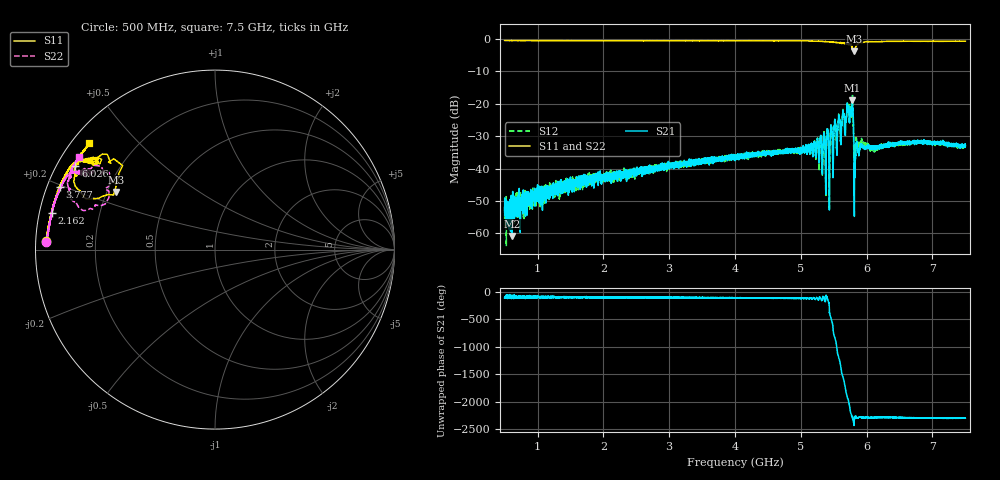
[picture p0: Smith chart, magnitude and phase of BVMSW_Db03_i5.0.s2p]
!Keysight Technologies,M9374A,MY55442783,A.12.55.05
!Date: Friday, May 21, 2021 11:07:29
!Correction: S11(Full 2 Port(1,2))
!S21(Full 2 Port(1,2))
!S12(Full 2 Port(1,2))
!S22(Full 2 Port(1,2))
!S2P File: Measurements: S11, S21, S12, S22:
# Hz S  RI  R 50
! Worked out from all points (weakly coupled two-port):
!   7001 points, 500 MHz to 7.5 GHz, reference 50 ohm
!   highest |S21| = -19.02 dB at 5.783 GHz (marker M1); lowest = -60.8 dB at 615 MHz (marker M2)
!   lowest |S11| = -3.9 dB at 5.807 GHz (marker M3), VSWR 4.55, Z = 11.7 + j12.8 ohm
!   |S11| at or under -10 dB: nowhere
!   |S22| runs from -3.7 to -0.5 dB; largest |S21 - S12| = 0.054
!   S11 on the Smith chart (normalised r, x): 500 MHz: 0.03, +0.03; 2.162 GHz: 0.04, +0.11; 3.777 GHz: 0.04, +0.19; 6.026 GHz: 0.05, +0.28; 7.5 GHz: 0.05, +0.36
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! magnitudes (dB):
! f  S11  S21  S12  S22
! 500 MHz  -0.5  -52.1  -58.0  -0.5
! 615 MHz  -0.5  -60.8  -54.8  -0.6
! 1.667 GHz  -0.6  -43.1  -43.2  -0.6
! 2.162 GHz  -0.6  -42.6  -42.7  -0.6
! 2.834 GHz  -0.6  -39.9  -39.4  -0.6
! 3.777 GHz  -0.6  -36.6  -37.0  -0.6
! 4 GHz  -0.6  -36.4  -36.3  -0.7
! 5.167 GHz  -0.7  -32.9  -33.1  -0.7
! 5.331 GHz  -0.8  -38.9  -39.3  -0.9
! 5.353 GHz  -0.8  -31.0  -29.0  -0.9
! 5.383 GHz  -0.9  -41.3  -42.2  -0.9
! 5.405 GHz  -0.9  -27.9  -28.0  -1.0
! 5.43 GHz  -0.9  -43.5  -43.2  -1.0
! 5.46 GHz  -1.0  -26.5  -26.5  -1.0
! 5.718 GHz  -1.5  -22.1  -21.9  -1.5
! 5.762 GHz  -1.6  -23.2  -24.2  -1.8
! 5.783 GHz  -3.0  -19.0  -18.0  -3.2
! 5.807 GHz  -3.9  -34.5  -35.9  -3.6
! 5.843 GHz  -2.0  -32.0  -30.1  -1.9
! 6.026 GHz  -0.9  -33.3  -32.9  -0.9
! 6.334 GHz  -0.8  -32.7  -32.8  -0.8
! 7.5 GHz  -0.7  -32.8  -33.4  -0.8
